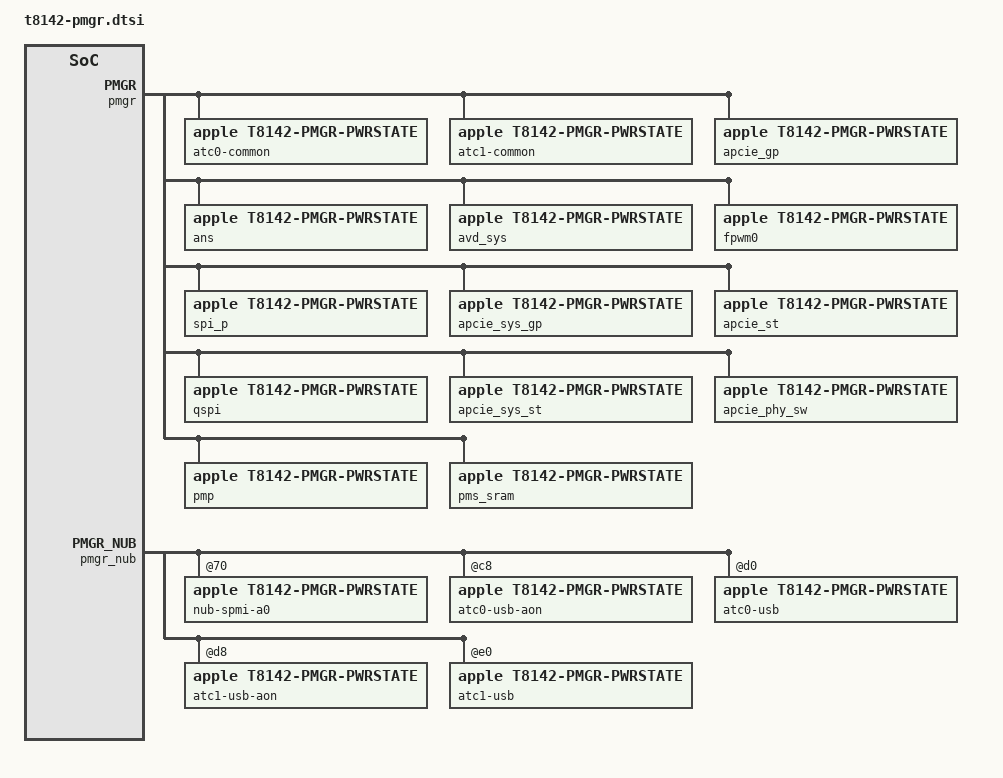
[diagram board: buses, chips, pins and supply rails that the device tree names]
// SPDX-License-Identifier: GPL-2.0+ OR MIT
/*
 * PMGR power states of the Apple T8142 "M5" SoC, from the ADT /arm-io/pmgr
 * device list (offset, parents).
 *
 * Copyright The Asahi Linux Contributors
 */

&pmgr {
	ps_atc0_common: power-controller@2c8 {
		compatible = "apple,t8142-pmgr-pwrstate", "apple,t8103-pmgr-pwrstate";
		reg = <0x2c8 4>;
		#power-domain-cells = <0>;
		#reset-cells = <0>;
		label = "atc0-common";
	};

	ps_atc1_common: power-controller@2d0 {
		compatible = "apple,t8142-pmgr-pwrstate", "apple,t8103-pmgr-pwrstate";
		reg = <0x2d0 4>;
		#power-domain-cells = <0>;
		#reset-cells = <0>;
		label = "atc1-common";
	};

	ps_atc2_common: power-controller@2d8 {
		compatible = "apple,t8142-pmgr-pwrstate", "apple,t8103-pmgr-pwrstate";
		reg = <0x2d8 4>;
		#power-domain-cells = <0>;
		#reset-cells = <0>;
		label = "atc2-common";
		status = "disabled";
	};

	ps_atc3_common: power-controller@2e0 {
		compatible = "apple,t8142-pmgr-pwrstate", "apple,t8103-pmgr-pwrstate";
		reg = <0x2e0 4>;
		#power-domain-cells = <0>;
		#reset-cells = <0>;
		label = "atc3-common";
		status = "disabled";
	};

	ps_apcie_gp: power-controller@2f0 {
		compatible = "apple,t8142-pmgr-pwrstate", "apple,t8103-pmgr-pwrstate";
		reg = <0x2f0 4>;
		#power-domain-cells = <0>;
		#reset-cells = <0>;
		label = "apcie_gp";
	};

	ps_ans: power-controller@300 {
		compatible = "apple,t8142-pmgr-pwrstate", "apple,t8103-pmgr-pwrstate";
		reg = <0x300 4>;
		#power-domain-cells = <0>;
		#reset-cells = <0>;
		label = "ans";
		apple,always-on; /* handed over running, cannot be reset */
	};

	ps_avd_sys: power-controller@310 {
		compatible = "apple,t8142-pmgr-pwrstate", "apple,t8103-pmgr-pwrstate";
		reg = <0x310 4>;
		#power-domain-cells = <0>;
		#reset-cells = <0>;
		label = "avd_sys";
	};

	ps_fpwm0: power-controller@330 {
		compatible = "apple,t8142-pmgr-pwrstate", "apple,t8103-pmgr-pwrstate";
		reg = <0x330 4>;
		#power-domain-cells = <0>;
		#reset-cells = <0>;
		label = "fpwm0";
	};

	ps_spi_p: power-controller@390 {
		compatible = "apple,t8142-pmgr-pwrstate", "apple,t8103-pmgr-pwrstate";
		reg = <0x390 4>;
		#power-domain-cells = <0>;
		#reset-cells = <0>;
		label = "spi_p";
	};

	ps_apcie_sys_gp: power-controller@408 {
		compatible = "apple,t8142-pmgr-pwrstate", "apple,t8103-pmgr-pwrstate";
		reg = <0x408 4>;
		#power-domain-cells = <0>;
		#reset-cells = <0>;
		label = "apcie_sys_gp";
		power-domains = <&ps_apcie_gp>;
	};

	ps_apcie_st: power-controller@410 {
		compatible = "apple,t8142-pmgr-pwrstate", "apple,t8103-pmgr-pwrstate";
		reg = <0x410 4>;
		#power-domain-cells = <0>;
		#reset-cells = <0>;
		label = "apcie_st";
		power-domains = <&ps_ans>;
	};

	ps_qspi: power-controller@460 {
		compatible = "apple,t8142-pmgr-pwrstate", "apple,t8103-pmgr-pwrstate";
		reg = <0x460 4>;
		#power-domain-cells = <0>;
		#reset-cells = <0>;
		label = "qspi";
		power-domains = <&ps_spi_p>;
	};

	ps_apcie_sys_st: power-controller@520 {
		compatible = "apple,t8142-pmgr-pwrstate", "apple,t8103-pmgr-pwrstate";
		reg = <0x520 4>;
		#power-domain-cells = <0>;
		#reset-cells = <0>;
		label = "apcie_sys_st";
		power-domains = <&ps_ans>, <&ps_apcie_st>;
	};

	ps_apcie_phy_sw: power-controller@560 {
		compatible = "apple,t8142-pmgr-pwrstate", "apple,t8103-pmgr-pwrstate";
		reg = <0x560 4>;
		#power-domain-cells = <0>;
		#reset-cells = <0>;
		label = "apcie_phy_sw";
		power-domains = <&ps_apcie_sys_st>, <&ps_apcie_sys_gp>;
	};

	ps_st0_aus5_aon: power-controller@578 {
		compatible = "apple,t8142-pmgr-pwrstate", "apple,t8103-pmgr-pwrstate";
		reg = <0x578 4>;
		#power-domain-cells = <0>;
		#reset-cells = <0>;
		label = "st0_aus5_aon";
		power-domains = <&ps_apcie_phy_sw>;
		status = "disabled";
	};

	/* The APCIe PHY: last of the ADT apcie power-gates. */
	ps_st0_aus5: power-controller@580 {
		compatible = "apple,t8142-pmgr-pwrstate", "apple,t8103-pmgr-pwrstate";
		reg = <0x580 4>;
		#power-domain-cells = <0>;
		#reset-cells = <0>;
		label = "st0_aus5";
		power-domains = <&ps_st0_aus5_aon>;
		status = "disabled";
	};

	ps_pmp: power-controller@598 {
		compatible = "apple,t8142-pmgr-pwrstate", "apple,t8103-pmgr-pwrstate";
		reg = <0x598 4>;
		#power-domain-cells = <0>;
		#reset-cells = <0>;
		label = "pmp";
		/* The PMP's SRAM, which the driver reads first. */
		power-domains = <&ps_pms_sram>;
		/* No firmware shutdown: it runs DCS/fabric DVFS through s2idle. */
		apple,always-on;
	};

	ps_pms_sram: power-controller@5a0 {
		compatible = "apple,t8142-pmgr-pwrstate", "apple,t8103-pmgr-pwrstate";
		reg = <0x5a0 4>;
		#power-domain-cells = <0>;
		#reset-cells = <0>;
		label = "pms_sram";
		/* T8140 holds it through its always-on PMP report node. */
		apple,always-on;
	};
};

&pmgr_nub {
	ps_nub_spmi_a0: power-controller@70 {
		compatible = "apple,t8142-pmgr-pwrstate", "apple,t8103-pmgr-pwrstate";
		reg = <0x70 4>;
		#power-domain-cells = <0>;
		#reset-cells = <0>;
		label = "nub-spmi-a0";
	};

	ps_nub_spmi_a1: power-controller@78 {
		compatible = "apple,t8142-pmgr-pwrstate", "apple,t8103-pmgr-pwrstate";
		reg = <0x78 4>;
		#power-domain-cells = <0>;
		#reset-cells = <0>;
		label = "nub-spmi-a1";
		status = "disabled";
	};

	ps_atc0_usb_aon: power-controller@c8 {
		compatible = "apple,t8142-pmgr-pwrstate", "apple,t8103-pmgr-pwrstate";
		reg = <0xc8 4>;
		#power-domain-cells = <0>;
		#reset-cells = <0>;
		label = "atc0-usb-aon";
	};

	ps_atc0_usb: power-controller@d0 {
		compatible = "apple,t8142-pmgr-pwrstate", "apple,t8103-pmgr-pwrstate";
		reg = <0xd0 4>;
		#power-domain-cells = <0>;
		#reset-cells = <0>;
		power-domains = <&ps_atc0_common>, <&ps_atc0_usb_aon>;
		label = "atc0-usb";
	};

	ps_atc1_usb_aon: power-controller@d8 {
		compatible = "apple,t8142-pmgr-pwrstate", "apple,t8103-pmgr-pwrstate";
		reg = <0xd8 4>;
		#power-domain-cells = <0>;
		#reset-cells = <0>;
		label = "atc1-usb-aon";
	};

	ps_atc1_usb: power-controller@e0 {
		compatible = "apple,t8142-pmgr-pwrstate", "apple,t8103-pmgr-pwrstate";
		reg = <0xe0 4>;
		#power-domain-cells = <0>;
		#reset-cells = <0>;
		power-domains = <&ps_atc1_common>, <&ps_atc1_usb_aon>;
		label = "atc1-usb";
	};

	ps_atc2_usb_aon: power-controller@e8 {
		compatible = "apple,t8142-pmgr-pwrstate", "apple,t8103-pmgr-pwrstate";
		reg = <0xe8 4>;
		#power-domain-cells = <0>;
		#reset-cells = <0>;
		label = "atc2-usb-aon";
		status = "disabled";
	};

	ps_atc2_usb: power-controller@f0 {
		compatible = "apple,t8142-pmgr-pwrstate", "apple,t8103-pmgr-pwrstate";
		reg = <0xf0 4>;
		#power-domain-cells = <0>;
		#reset-cells = <0>;
		power-domains = <&ps_atc2_common>, <&ps_atc2_usb_aon>;
		label = "atc2-usb";
		status = "disabled";
	};

	ps_atc3_usb_aon: power-controller@f8 {
		compatible = "apple,t8142-pmgr-pwrstate", "apple,t8103-pmgr-pwrstate";
		reg = <0xf8 4>;
		#power-domain-cells = <0>;
		#reset-cells = <0>;
		label = "atc3-usb-aon";
		status = "disabled";
	};

	ps_atc3_usb: power-controller@100 {
		compatible = "apple,t8142-pmgr-pwrstate", "apple,t8103-pmgr-pwrstate";
		reg = <0x100 4>;
		#power-domain-cells = <0>;
		#reset-cells = <0>;
		power-domains = <&ps_atc3_common>, <&ps_atc3_usb_aon>;
		label = "atc3-usb";
		status = "disabled";
	};
};
